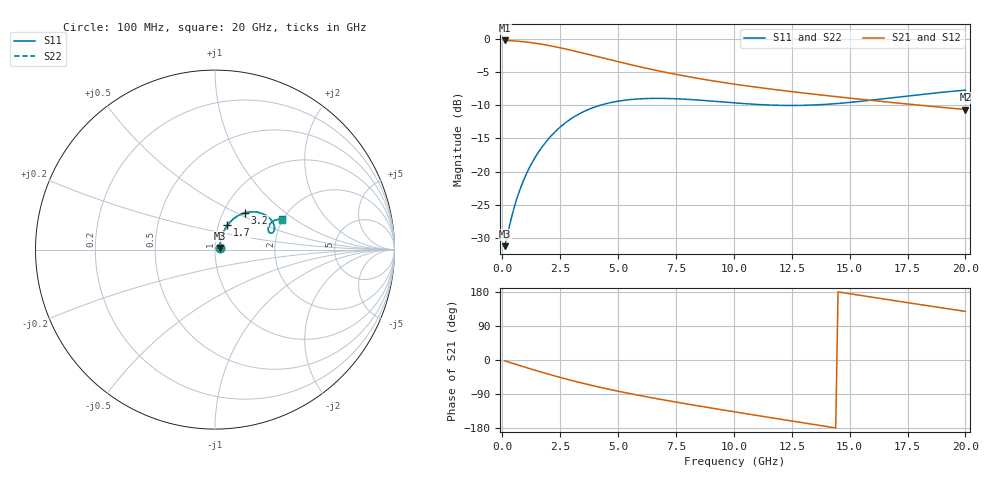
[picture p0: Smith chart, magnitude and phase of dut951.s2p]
! Touchstone file exported from HFSS 2024.1.0
!  File:  C:/UserFiles/LocalFiles/RDL_TSV_Batchsim/temp_RDL_TSV_951_1779965305.aedt
!  Generated:  07:00:35 PM May 28, 2026
!  Design:  RDL_TSV
!  Project:  temp_RDL_TSV_951_1779965305
!  Setup:  Setup1
!  Solution:  Sweep
! Variables:
!  dtsv = 7.76um
!  hbump = 3um
!  htsv = 85.24um
!  ldown = 605.55um
!  lrdl = 361.31um
!  p = 40
!  p1 = 48.68um
!  rhole = 10um
!  subl = 3261.89um
!  t = 450um
!  tdown = 3.46um
!  trdl = 4.16um
!  viad = 10um
!  wdown = 11.95um
!  wrdl = 12.42um
!  xbump = 18um
# GHz S MA R 50.000000
! Terminal data exported
! Port[1] = TM1_1_T1
! Port[2] = TM1_4_T1
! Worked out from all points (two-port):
!   200 points, 100 MHz to 20 GHz, reference 50 ohm
!   highest |S21| = -0.23 dB at 100 MHz (marker M1); lowest = -10.6 dB at 20 GHz (marker M2)
!   |S21| within 3 dB of the highest: start of sweep to 4.76 GHz
!   lowest |S11| = -31.3 dB at 100 MHz (marker M3), VSWR 1.06, Z = 52.6 + j0.939 ohm
!   |S11| at or under -10 dB: start of sweep to 4.235 GHz; 11.81 GHz to 13.16 GHz (1.346 GHz wide, 10.8 % of centre)
!   |S22| runs from -31.3 to -7.7 dB; largest |S21 - S12| = 6.2e-15
!   S11 on the Smith chart (normalised r, x): 100 MHz: 1.05, +0.02; 1.7 GHz: 1.10, +0.31; 3.2 GHz: 1.27, +0.56; 20 GHz: 1.98, +0.80
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0.1  0.02736 19.0  0.974 -2.0  0.974 -2.0  0.02736 19.0
! Gamma 0 0 0 0
! Port Impedance 50 0 50 0
0.5  0.05254 54.3  0.9669 -9.8  0.9669 -9.8  0.05254 54.3
0.8  0.07613 61.3  0.9574 -15.6  0.9574 -15.6  0.07613 61.3
1.2  0.1093 64.0  0.9403 -23.1  0.9403 -23.1  0.1093 64.0
1.7  0.1517 62.9  0.9124 -32.2  0.9124 -32.2  0.1518 63.0
2.4  0.2088 58.0  0.8647 -44.4  0.8647 -44.4  0.2089 58.1
2.8  0.2384 54.4  0.8349 -50.9  0.8349 -50.9  0.2385 54.5
3.2  0.2648 50.7  0.8042 -57.2  0.8042 -57.2  0.265 50.7
3.5  0.2823 47.8  0.7812 -61.7  0.7812 -61.7  0.2824 47.8
4.2  0.3149 41.3  0.7289 -71.8  0.7289 -71.8  0.3151 41.4
5.1  0.3414 33.9  0.6671 -83.6  0.6671 -83.6  0.3418 34.0
5.9  0.353 28.5  0.6187 -93.3  0.6187 -93.3  0.3535 28.5
6.8  0.3563 23.5  0.5719 -103.5  0.5719 -103.5  0.3568 23.6
7.6  0.3532 20.3  0.5365 -112.1  0.5365 -112.1  0.3538 20.3
8.4  0.3466 18.0  0.506 -120.5  0.506 -120.5  0.3473 18.0
10.1  0.3287 16.2  0.4541 -137.5  0.4541 -137.5  0.3296 16.2
11.7  0.3167 17.7  0.4165 -153.2  0.4165 -153.2  0.3176 17.7
13.4  0.3173 21.3  0.384 -169.7  0.384 -169.7  0.3182 21.2
15  0.332 24.4  0.3579 174.9  0.3579 174.9  0.3329 24.3
16.7  0.3578 26.1  0.3335 158.8  0.3335 158.8  0.3585 25.9
18.3  0.3849 25.8  0.3129 143.9  0.3129 143.9  0.3856 25.7
20  0.4108 24.1  0.2936 128.3  0.2936 128.3  0.4114 24.0
